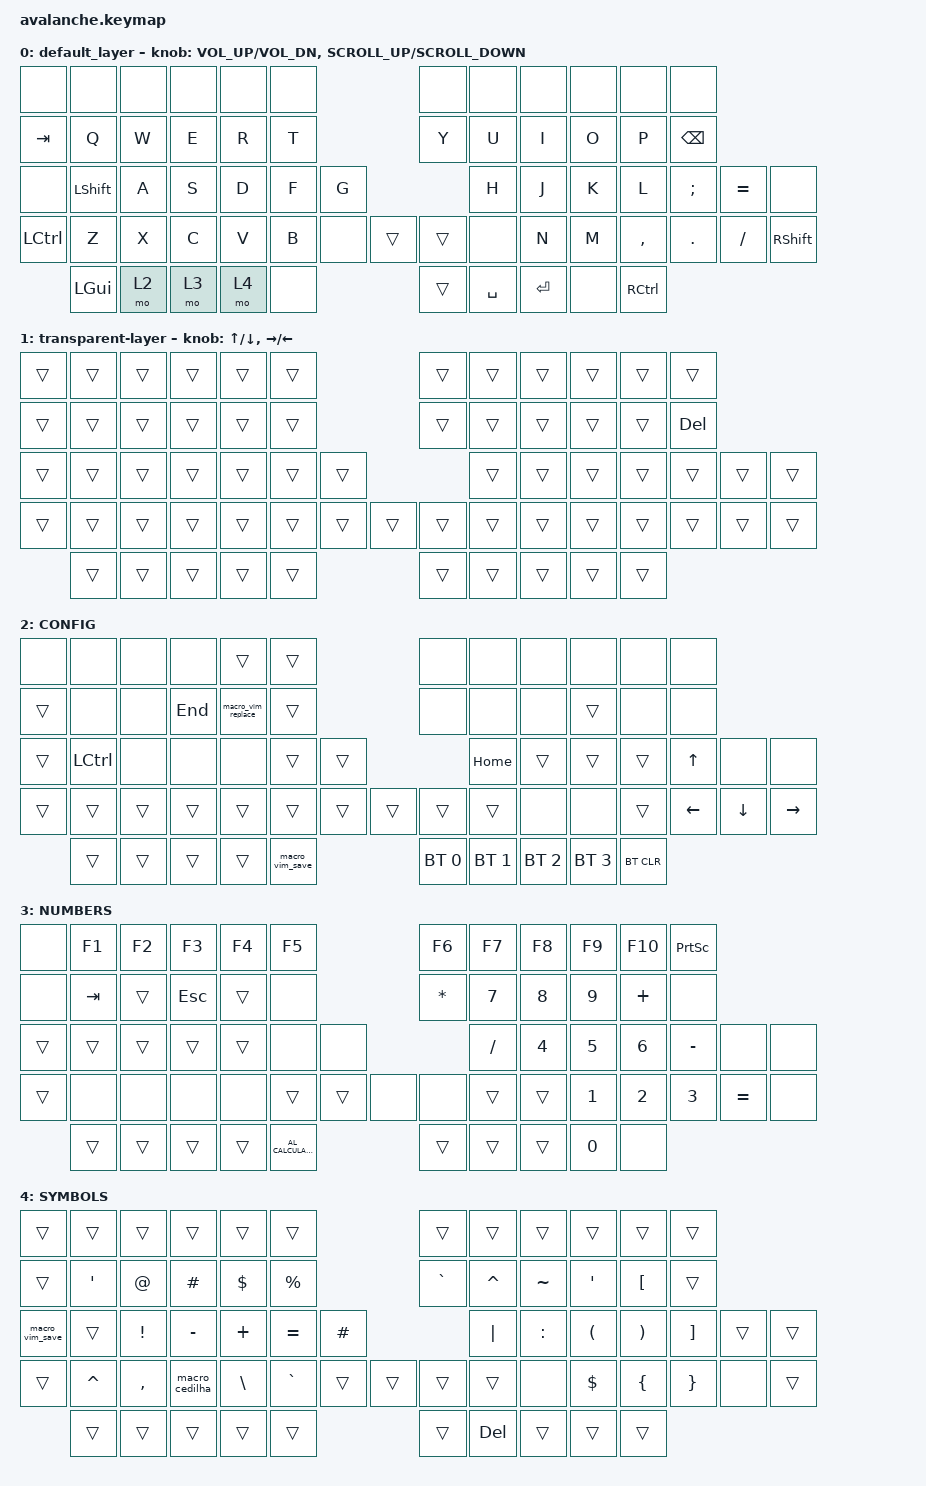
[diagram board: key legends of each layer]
#include <behaviors.dtsi>
#include <dt-bindings/zmk/bt.h>
#include <dt-bindings/zmk/keys.h>

&lt {
    tapping-term-ms = <400>;
    quick-tap-ms = <100>;
};

/ {
    behaviors {
        bhm: balanced_homerow_mods {
            compatible = "zmk,behavior-hold-tap";
            #binding-cells = <2>;
            tapping-term-ms = <200>;

            // <---[[moderate duration]]

            quick-tap-ms = <0>;
            flavor = "balanced";
            bindings = <&kp>, <&kp>;
        };

        hm: homerow_mods {
            compatible = "zmk,behavior-hold-tap";
            #binding-cells = <2>;
            tapping-term-ms = <250>;
            flavor = "tap-preferred";
            bindings = <&kp>, <&kp>;
        };
    };

    macros {
        macro_vim_save: vim_save {
            compatible = "zmk,behavior-macro";
            #binding-cells = <0>;
            wait-ms = <0>;
            tap-ms = <5>;
            bindings = <&kp ESCAPE &kp COLON &kp W &kp ENTER>;
            label = "VIM_SAVE";
        };

        macro_previous_folder: macro_previous_folder {
            compatible = "zmk,behavior-macro";
            #binding-cells = <0>;
            wait-ms = <0>;
            tap-ms = <5>;
            bindings = <&kp DOT &kp DOT &kp FSLH>;
            label = "MACRO_PREVIOUS_FOLDER";
        };

        macro_vim_replace: replace {
            compatible = "zmk,behavior-macro";
            #binding-cells = <0>;
            bindings = <&kp ESC &kp COLON &kp PERCENT &kp S &kp SLASH>;
            label = "REPLACE";
        };

        macro_cedilha: cedilha {
            compatible = "zmk,behavior-macro";
            #binding-cells = <0>;
            bindings = <&kp APOS &kp C>, <&macro_tap>;

            label = "CEDILHA";
        };
    };

    combos {
        compatible = "zmk,combos";

        toggle-0-e-1 {
            bindings = <&tog 1>;
            key-positions = <13 14 15 16>;
            timeout-ms = <70>;
        };

        enter {
            bindings = <&kp ENTER>;
            key-positions = <30 29 28>;
            timeout-ms = <70>;
        };

        backspace {
            bindings = <&kp BACKSPACE>;
            key-positions = <31 32>;
            timeout-ms = <70>;
        };

        del {
            bindings = <&kp DEL>;
            key-positions = <32 33>;
            timeout-ms = <70>;
        };

        eq {
            bindings = <&kp EQUAL>;
            key-positions = <13 15>;
            timeout-ms = <70>;
        };

        less {
            bindings = <&kp LESS_THAN>;
            key-positions = <17 34>;
            timeout-ms = <70>;
        };

        greater {
            bindings = <&kp GREATER_THAN>;
            key-positions = <30 17>;
            timeout-ms = <70>;
        };

        underscore {
            bindings = <&kp UNDER>;
            key-positions = <19 28>;
            timeout-ms = <70>;
        };

        hifen {
            bindings = <&kp MINUS>;
            key-positions = <31 20>;
            timeout-ms = <70>;
        };

        aspas-duplas {
            bindings = <&kp DOUBLE_QUOTES>;
            key-positions = <26 28>;
            timeout-ms = <70>;
        };

        aspas-simples {
            bindings = <&kp SINGLE_QUOTE>;
            key-positions = <26 27>;
            timeout-ms = <70>;
        };
    };

    keymap {
        compatible = "zmk,keymap";

        default_layer {
            // ---------------------------------------------------------------------------------------------------------------------------------------------
            //            |  `  |  1  |  2  |  3  |  4  |  5  |                                             |  6  |  7  |  8  |  9  |  0  |  '  |
            //            | TAB |  Q  |  W  |  E  |  R  |  T  |                                             |  Y  |  U  |  I  |  O  |  P  |  [  | 
            //    |  ESC  |CTRL |  A  |  S  |  D  |  F  |  G  |                                             |  H  |  J  |  K  |  L  |  ;  |  '  |  \   |
            //            |SHIFT|  Z  |  X  |  C  |  V  |  B  |  DEL  |                              | BSPC |  N  |  M  |  ,  |  .  |  /  |  -  |
            //                        | GUI | ALT |SPACE|RAISE| ENTER |                              | ENTER|  =  |SPACE|MO(1)|MO(2)|
            // ---------------------------------------------------------------------------------------------------------------------------------------------

            bindings = <
&none      &none         &none  &none  &none  &none                 &none   &none      &none      &none  &none              &none
&kp TAB    &kp Q         &kp W  &kp E  &kp R  &kp T                 &kp Y   &kp U      &kp I      &kp O  &kp P              &kp BACKSPACE
&none      &kp LSHIFT    &kp A  &kp S  &kp D  &kp F  &kp G                  &kp H      &kp J      &kp K  &kp L              &kp SEMICOLON  &kp EQUAL  &none
&kp LCTRL  &kp Z         &kp X  &kp C  &kp V  &kp B  &none  &trans  &trans  &none      &kp N      &kp M  &kp COMMA          &kp PERIOD     &kp FSLH   &kp RSHIFT
           &kp LEFT_GUI  &mo 2  &mo 3  &mo 4  &none                 &trans  &kp SPACE  &kp ENTER  &none  &kp RIGHT_CONTROL
            >;

            sensor-bindings =
                <&inc_dec_kp C_VOL_UP C_VOL_DN>,
                <&inc_dec_kp K_SCROLL_UP K_SCROLL_DOWN>;
        };

        transparent-layer {
            bindings = <
&trans  &trans  &trans  &trans  &trans  &trans                  &trans  &trans  &trans  &trans  &trans  &trans
&trans  &trans  &trans  &trans  &trans  &trans                  &trans  &trans  &trans  &trans  &trans  &kp DELETE
&trans  &trans  &trans  &trans  &trans  &trans  &trans                  &trans  &trans  &trans  &trans  &trans      &trans  &trans
&trans  &trans  &trans  &trans  &trans  &trans  &trans  &trans  &trans  &trans  &trans  &trans  &trans  &trans      &trans  &trans
        &trans  &trans  &trans  &trans  &trans                  &trans  &trans  &trans  &trans  &trans
            >;

            sensor-bindings =
                <&inc_dec_kp UP_ARROW DOWN>,
                <&inc_dec_kp RIGHT LEFT>;
        };

        CONFIG {
            bindings = <
&none   &none             &none   &none    &trans              &trans                           &none         &none         &none         &none         &none       &none
&trans  &none             &none   &kp END  &macro_vim_replace  &trans                           &none         &none         &none         &trans        &none       &none
&trans  &kp LEFT_CONTROL  &none   &none    &none               &trans           &trans                        &kp HOME      &trans        &trans        &trans      &kp UP_ARROW  &none     &none
&trans  &trans            &trans  &trans   &trans              &trans           &trans  &trans  &trans        &trans        &none         &none         &trans      &kp LEFT      &kp DOWN  &kp RIGHT
        &trans            &trans  &trans   &trans              &macro_vim_save                  &bt BT_SEL 0  &bt BT_SEL 1  &bt BT_SEL 2  &bt BT_SEL 3  &bt BT_CLR
            >;
        };

        NUMBERS {
            // ---------------------------------------------------------------------------------------------------------------------------------------------
            //            |     |     |     |     |     |     |                                          |     |     |     |     |     |     |
            //            |     | HOME|  UP | END |     |     |                                          |     |HOME |     |END  |     |     |
            //       |    |     | LEFT| DOWN|RIGHT|     |     |                                          |SCLUP|LEFT |  UP |  A  |PG_UP|     |    |
            //            |     |     |     |     |     |     |     |                              |     |SCLDN|LEFT | DOWN|RIGHT|PG_DN|     |
            //                        |     |     |     |     |     |                              |     |     |     |     |     |
            // ---------------------------------------------------------------------------------------------------------------------------------------------

            bindings = <
&none   &kp F1   &kp F2  &kp F3   &kp F4  &kp F5                              &kp F6        &kp F7     &kp F8        &kp F9        &kp F10       &kp PRINTSCREEN
&none   &kp TAB  &trans  &kp ESC  &trans  &none                               &kp ASTERISK  &kp N7     &kp N8        &kp N9        &kp PLUS      &none
&trans  &trans   &trans  &trans   &trans  &none                &none                        &kp SLASH  &kp NUMBER_4  &kp N5        &kp NUMBER_6  &kp MINUS        &none      &none
&trans  &none    &none   &none    &none   &trans               &trans  &none  &none         &trans     &trans        &kp NUMBER_1  &kp NUMBER_2  &kp NUMBER_3     &kp EQUAL  &none
        &trans   &trans  &trans   &trans  &kp C_AL_CALCULATOR                 &trans        &trans     &trans        &kp NUMBER_0  &none
            >;
        };

        SYMBOLS {
            bindings = <
&trans           &trans     &trans           &trans          &trans         &trans                         &trans     &trans     &trans     &trans                &trans                 &trans
&trans           &kp APOS   &kp AT           &kp HASH        &kp DOLLAR     &kp PERCENT                    &kp GRAVE  &kp CARET  &kp TILDE  &kp APOS              &kp LEFT_BRACKET       &trans
&macro_vim_save  &trans     &kp EXCLAMATION  &kp MINUS       &kp PLUS       &kp EQUAL    &kp HASH                     &kp PIPE   &kp COLON  &kp LEFT_PARENTHESIS  &kp RIGHT_PARENTHESIS  &kp RIGHT_BRACKET  &trans  &trans
&trans           &kp CARET  &kp COMMA        &macro_cedilha  &kp BACKSLASH  &kp GRAVE    &trans    &trans  &trans     &trans     &none      &kp DOLLAR            &kp LEFT_BRACE         &kp RIGHT_BRACE    &none   &trans
                 &trans     &trans           &trans          &trans         &trans                         &trans     &kp DEL    &trans     &trans                &trans
            >;
        };
    };
};
